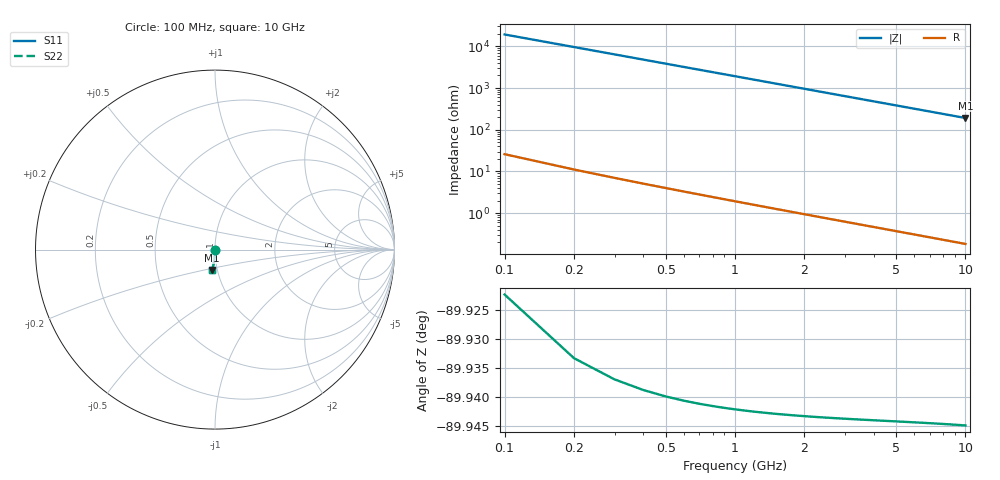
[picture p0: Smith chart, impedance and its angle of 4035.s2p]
# Hz S RI R 50.00
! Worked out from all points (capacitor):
!   100 points, 100 MHz to 10 GHz, reference 50 ohm
!   read as one part in shunt: C = 83 fF near 100 MHz
!   lowest |Z| = 191 ohm at 10 GHz (marker M1)
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1e8  0.000141 -0.00115  0.9999 -0.00146  0.9999 -0.00146  0.000141 -0.00115
2e8  0.000135 -0.0023  0.9998 -0.00291  0.9998 -0.00291  0.000135 -0.0023
3e8  0.000126 -0.00346  0.9998 -0.00437  0.9998 -0.00437  0.000126 -0.00346
4e8  0.000114 -0.00461  0.9998 -0.00582  0.9998 -0.00582  0.000114 -0.00461
5e8  9.82e-05 -0.00576  0.9998 -0.00728  0.9998 -0.00728  9.82e-05 -0.00576
6e8  7.89e-05 -0.00691  0.9998 -0.00873  0.9998 -0.00873  7.89e-05 -0.00691
7e8  5.63e-05 -0.00807  0.9998 -0.0102  0.9998 -0.0102  5.63e-05 -0.00807
8e8  3.03e-05 -0.00922  0.9997 -0.0116  0.9997 -0.0116  3.03e-05 -0.00922
9e8  8.53e-07 -0.0104  0.9997 -0.0131  0.9997 -0.0131  8.53e-07 -0.0104
1.1e9  -6.81e-05 -0.0127  0.9996 -0.016  0.9996 -0.016  -6.81e-05 -0.0127
1.4e9  -0.000197 -0.0161  0.9995 -0.0204  0.9995 -0.0204  -0.000197 -0.0161
1.8e9  -0.000415 -0.0207  0.9993 -0.0262  0.9993 -0.0262  -0.000415 -0.0207
2.1e9  -0.000615 -0.0242  0.9991 -0.0305  0.9991 -0.0305  -0.000615 -0.0242
2.5e9  -0.000927 -0.0288  0.9987 -0.0364  0.9987 -0.0364  -0.000927 -0.0288
2.9e9  -0.00129 -0.0334  0.9984 -0.0422  0.9984 -0.0422  -0.00129 -0.0334
3.4e9  -0.00183 -0.0391  0.9978 -0.0494  0.9978 -0.0494  -0.00183 -0.0391
4.2e9  -0.00285 -0.0483  0.9968 -0.061  0.9968 -0.061  -0.00285 -0.0483
5.1e9  -0.00426 -0.0586  0.9953 -0.074  0.9953 -0.074  -0.00426 -0.0586
5.9e9  -0.00574 -0.0676  0.9938 -0.0855  0.9938 -0.0855  -0.00574 -0.0676
6.7e9  -0.00742 -0.0767  0.992 -0.097  0.992 -0.097  -0.00742 -0.0767
8.4e9  -0.0117 -0.0958  0.9876 -0.1212  0.9876 -0.1212  -0.0117 -0.0958
1e10  -0.0166 -0.1135  0.9826 -0.1438  0.9826 -0.1438  -0.0166 -0.1135
